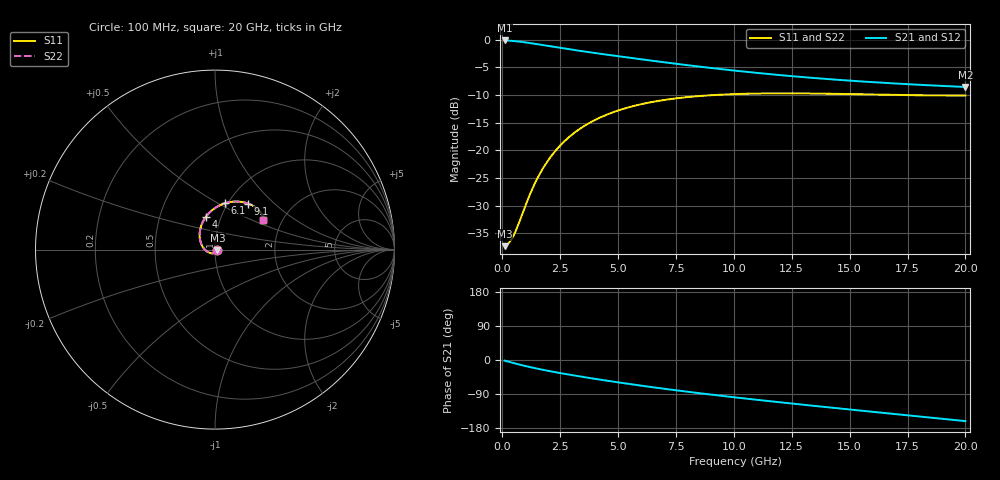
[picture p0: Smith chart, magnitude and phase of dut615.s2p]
! Touchstone file exported from HFSS 2024.1.0
!  File:  C:/UserFiles/LocalFiles/RDL_TSV_Batchsim/temp_RDL_TSV_615_1779800544.aedt
!  Generated:  09:19:31 PM May 26, 2026
!  Design:  RDL_TSV
!  Project:  temp_RDL_TSV_615_1779800544
!  Setup:  Setup1
!  Solution:  Sweep
! Variables:
!  dtsv = 13.46um
!  hbump = 3um
!  htsv = 83.35um
!  ldown = 271.78um
!  lrdl = 281.42um
!  p = 40
!  p1 = 58.37um
!  rhole = 10um
!  subl = 1941.02um
!  t = 450um
!  tdown = 4.77um
!  trdl = 2um
!  viad = 10um
!  wdown = 15.18um
!  wrdl = 22.73um
!  xbump = 18um
# GHz S MA R 50.000000
! Terminal data exported
! Port[1] = TM1_1_T1
! Port[2] = TM1_4_T1
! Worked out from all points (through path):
!   200 points, 100 MHz to 20 GHz, reference 50 ohm
!   highest |S21| = -0.12 dB at 100 MHz (marker M1); lowest = -8.5 dB at 20 GHz (marker M2)
!   group delay of S21, straight-line fit = 20.8 ps
!   lowest |S11| = -37.3 dB at 100 MHz (marker M3), VSWR 1.03, Z = 51.3 - j0.378 ohm
!   |S11| at or under -10 dB: start of sweep to 9.136 GHz; 17.31 GHz to end of sweep
!   |S22| runs from -37.3 to -9.7 dB; largest |S21 - S12| = 8.3e-15
!   S11 on the Smith chart (normalised r, x): 100 MHz: 1.03, -0.01; 4 GHz: 0.85, +0.32; 6.1 GHz: 0.97, +0.54; 9.1 GHz: 1.23, +0.70; 20 GHz: 1.60, +0.58
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0.1  0.01358 -15.7  0.986 -1.7  0.986 -1.7  0.01358 -15.7
! Gamma 0 0 0 0
! Port Impedance 50 0 50 0
0.3  0.01466 -48.0  0.9818 -5.0  0.9818 -5.0  0.01466 -48.0
0.5  0.01716 -79.9  0.9745 -8.3  0.9745 -8.3  0.01715 -79.9
0.9  0.0278 -131.8  0.9532 -14.4  0.9532 -14.4  0.0278 -131.9
1.3  0.04484 -165.6  0.9266 -20.1  0.9266 -20.1  0.04487 -165.6
1.6  0.06017 176.5  0.9053 -24.0  0.9053 -24.0  0.06021 176.4
1.9  0.07662 162.2  0.8842 -27.7  0.8842 -27.7  0.07669 162.2
2.2  0.09356 150.5  0.8638 -31.2  0.8638 -31.2  0.09365 150.5
2.6  0.1161 137.6  0.8379 -35.6  0.8379 -35.6  0.1163 137.6
3  0.1381 126.9  0.8138 -39.8  0.8138 -39.8  0.1382 126.8
3.5  0.164 115.6  0.7856 -44.9  0.7856 -44.9  0.1642 115.6
4  0.188 106.2  0.7592 -49.7  0.7592 -49.7  0.1882 106.1
5  0.2291 90.8  0.7105 -59.0  0.7105 -59.0  0.2294 90.8
6.1  0.2641 77.8  0.6618 -68.6  0.6618 -68.6  0.2645 77.8
6.8  0.2814 71.0  0.6333 -74.4  0.6333 -74.4  0.2817 71.0
7.9  0.3016 62.0  0.5923 -83.0  0.5923 -83.0  0.302 62.0
9.1  0.3159 54.1  0.553 -91.9  0.553 -91.9  0.3163 54.1
10.1  0.323 48.8  0.5243 -99.0  0.5243 -99.0  0.3234 48.8
11.7  0.3276 42.1  0.4854 -109.7  0.4854 -109.7  0.328 42.1
13.4  0.3267 37.0  0.4521 -120.6  0.4521 -120.6  0.3271 37.0
16.7  0.3178 31.9  0.4053 -141.1  0.4053 -141.1  0.3182 32.0
20  0.3133 31.6  0.374 -161.3  0.374 -161.3  0.3138 31.6
